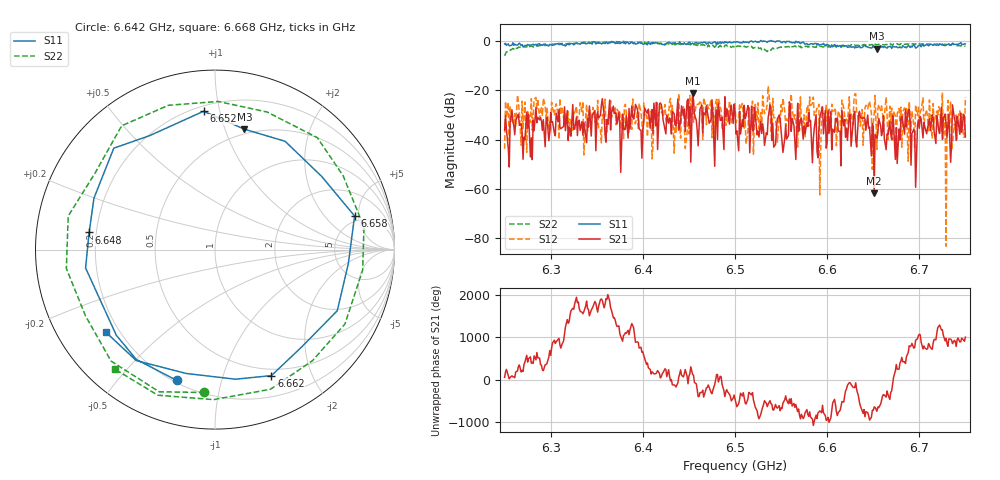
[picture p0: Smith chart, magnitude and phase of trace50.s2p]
# Hz S RI R 50
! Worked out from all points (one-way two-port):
!   401 points, 6.25 GHz to 6.75 GHz, reference 50 ohm
!   highest |S21| = -21.23 dB at 6.454 GHz (marker M1); lowest = -61.8 dB at 6.651 GHz (marker M2)
!   lowest |S11| = -3.2 dB at 6.654 GHz (marker M3), VSWR 5.46, Z = 22.8 + j58.4 ohm
!   |S11| at or under -10 dB: nowhere
!   |S22| runs from -6.1 to 0.0 dB; largest |S21 - S12| = 0.11
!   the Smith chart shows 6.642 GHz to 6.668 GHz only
!   S11 on the Smith chart (normalised r, x): 6.642 GHz: 0.21, -0.73; 6.648 GHz: 0.17, +0.07; 6.652 GHz: 0.23, +0.89; 6.658 GHz: 4.26, +4.43; 6.662 GHz: 0.42, -1.46; 6.668 GHz: 0.15, -0.33
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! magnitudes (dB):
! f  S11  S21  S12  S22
! 6.25 GHz  -1.3  -36.2  -43.7  -6.1
! 6.28 GHz  -1.6  -48.1  -36.2  -2.4
! 6.284 GHz  -1.4  -27.0  -22.9  -2.2
! 6.334 GHz  -0.8  -32.7  -28.7  -0.8
! 6.418 GHz  -1.2  -25.6  -28.0  -1.2
! 6.454 GHz  -0.9  -21.2  -22.9  -1.8
! 6.5 GHz  -0.6  -28.4  -25.4  -2.4
! 6.584 GHz  -1.2  -49.4  -25.5  -2.4
! 6.595 GHz  -1.5  -26.8  -29.3  -2.5
! 6.642 GHz  -2.4  -36.2  -26.1  -2.0
! 6.648 GHz  -3.0  -46.6  -29.3  -1.6
! 6.651 GHz  -2.7  -61.8  -29.9  -1.3
! 6.652 GHz  -2.2  -37.9  -22.1  -1.5
! 6.654 GHz  -3.2  -39.4  -44.0  -1.7
! 6.658 GHz  -1.9  -34.3  -28.2  -1.7
! 6.662 GHz  -2.3  -39.5  -30.6  -1.7
! 6.668 GHz  -2.4  -32.8  -26.5  -1.2
! 6.688 GHz  -2.0  -27.9  -48.7  -1.4
! 6.694 GHz  -1.5  -35.9  -33.8  -1.3
! 6.722 GHz  -1.2  -37.5  -27.3  -1.4
! 6.729 GHz  -1.7  -33.4  -83.1  -1.6
! 6.75 GHz  -1.3  -39.0  -22.8  -2.2
